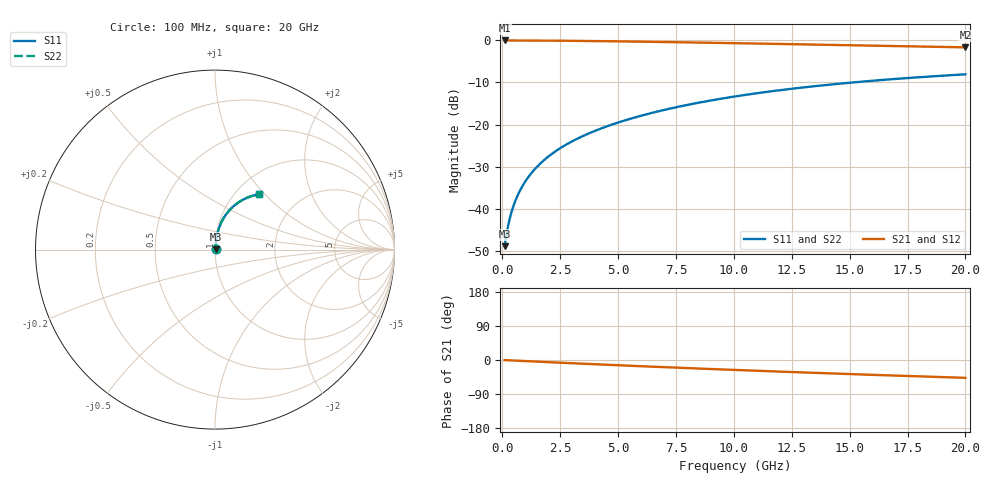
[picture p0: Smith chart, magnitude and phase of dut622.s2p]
! Touchstone file exported from HFSS 2024.1.0
!  File:  C:/UserFiles/LocalFiles/RDL_TSV_Batchsim/temp_RDL_bottom_622_1779784096.aedt
!  Generated:  04:30:39 PM May 26, 2026
!  Design:  RDL_bottom
!  Project:  temp_RDL_bottom_622_1779784096
!  Setup:  Setup1
!  Solution:  Sweep
! Variables:
!  dtsv = 10.80580581um
!  hbump = 3um
!  htsv = 92.19um
!  ldown = 696.66um
!  lrdl = 100um
!  p = 40
!  p1 = 47.56um
!  rhole = 1um
!  t = 450um
!  tdown = 4.62um
!  trdl = 3.915915916um
!  wdown = 20.25um
!  wrdl = 20um
# GHz S MA R 50.000000
! Terminal data exported
! Port[1] = RDL1_T1
! Port[2] = RDL1_T2
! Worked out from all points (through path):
!   200 points, 100 MHz to 20 GHz, reference 50 ohm
!   highest |S21| = -0.02 dB at 100 MHz (marker M1); lowest = -1.7 dB at 20 GHz (marker M2)
!   group delay of S21, straight-line fit = 6.5 ps
!   lowest |S11| = -48.8 dB at 100 MHz (marker M3), VSWR 1.01, Z = 50.3 + j0.231 ohm
!   |S11| at or under -10 dB: start of sweep to 15.11 GHz
!   |S22| runs from -48.8 to -8.1 dB; largest |S21 - S12| = 8.4e-15
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0.1  0.003614 39.4  0.9972 -0.3  0.9972 -0.3  0.003614 39.4
! Gamma 0 0 0 0
! Port Impedance 50 0 50 0
0.2  0.00537 56.5  0.997 -0.6  0.997 -0.6  0.00537 56.5
0.3  0.007282 64.6  0.9968 -0.9  0.9968 -0.9  0.007282 64.6
0.4  0.00923 69.3  0.9966 -1.2  0.9966 -1.2  0.00923 69.3
0.5  0.0112 72.5  0.9965 -1.5  0.9965 -1.5  0.0112 72.5
0.6  0.0132 74.8  0.9963 -1.7  0.9963 -1.7  0.0132 74.8
0.8  0.01723 77.7  0.996 -2.3  0.996 -2.3  0.01723 77.7
1.1  0.02337 80.2  0.9953 -3.2  0.9953 -3.2  0.02337 80.2
1.5  0.03163 81.7  0.9941 -4.3  0.9941 -4.3  0.03163 81.7
1.8  0.03787 82.3  0.9931 -5.1  0.9931 -5.1  0.03787 82.3
2.1  0.04413 82.6  0.9918 -6.0  0.9918 -6.0  0.04413 82.6
2.7  0.05673 82.6  0.9889 -7.7  0.9889 -7.7  0.05673 82.6
3.5  0.07367 82.2  0.9841 -9.9  0.9841 -9.9  0.07367 82.2
4.2  0.08863 81.6  0.9792 -11.7  0.9792 -11.7  0.08863 81.6
5  0.1059 80.6  0.973 -13.9  0.973 -13.9  0.1059 80.6
6.8  0.1452 77.8  0.9574 -18.5  0.9574 -18.5  0.1453 77.8
8.4  0.1803 74.9  0.9423 -22.4  0.9423 -22.4  0.1803 74.9
10.1  0.217 71.5  0.9255 -26.4  0.9255 -26.4  0.217 71.5
11.7  0.2504 68.1  0.9093 -30.0  0.9093 -30.0  0.2504 68.2
13.4  0.2842 64.6  0.8919 -33.7  0.8919 -33.7  0.2843 64.6
16.7  0.344 57.7  0.8584 -40.6  0.8584 -40.6  0.344 57.7
20  0.3952 51.2  0.8258 -47.1  0.8258 -47.1  0.3953 51.3
